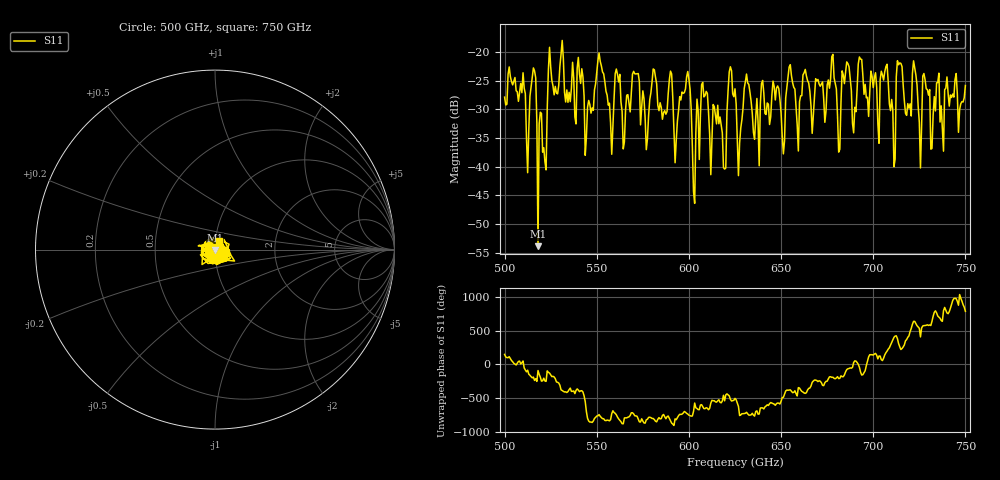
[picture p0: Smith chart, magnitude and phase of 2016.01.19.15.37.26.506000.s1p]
!Created with skrf (http://scikit-rf.org).
# GHz S RI R 50.0
!freq ReS11 ImS11
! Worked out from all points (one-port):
!   401 points, 500 GHz to 750 GHz, reference 50 ohm
!   lowest |S11| = -53.9 dB at 518.1 GHz (marker M1), VSWR 1.00, Z = 50 - j0.202 ohm
!   |S11| at or under -10 dB: start of sweep to end of sweep
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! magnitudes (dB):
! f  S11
! 500 GHz  -27.9
! 512.5 GHz  -41.1
! 515.6 GHz  -22.8
! 518.1 GHz  -53.9
! 531.2 GHz  -18.0
! 545 GHz  -29.6
! 551.2 GHz  -20.2
! 557.5 GHz  -32.4
! 562.5 GHz  -23.9
! 577.5 GHz  -35.2
! 590 GHz  -23.3
! 593.8 GHz  -32.1
! 599.4 GHz  -23.4
! 602.5 GHz  -44.4
! 608.1 GHz  -27.8
! 618.8 GHz  -40.2
! 621.9 GHz  -23.5
! 625 GHz  -26.4
! 651.2 GHz  -37.8
! 656.2 GHz  -25.3
! 678.1 GHz  -20.4
! 681.2 GHz  -37.5
! 687.5 GHz  -24.6
! 706.2 GHz  -23.4
! 710.6 GHz  -30.2
! 714.4 GHz  -21.9
! 718.8 GHz  -29.0
! 750 GHz  -25.8
